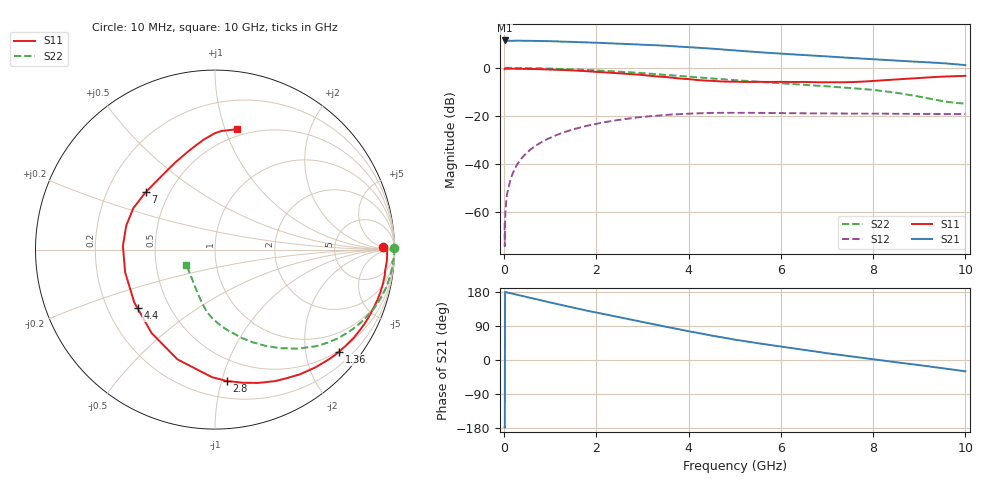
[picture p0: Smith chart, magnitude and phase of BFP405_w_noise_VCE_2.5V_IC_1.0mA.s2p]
! Infineon Technologies  Discrete & RF Semiconductors
! BFP405
! VCE =  2.5 V,  IC =  1.0 mA
! Common Emitter S-Parameters:  Jan 2016
# GHz  S  MA  R  50
!  f  S11  S21  S12  S22
! GHz  MAG  ANG  MAG  ANG  MAG  ANG  MAG  ANG
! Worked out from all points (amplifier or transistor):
!   233 points, 10 MHz to 10 GHz, reference 50 ohm
!   highest |S21| = 11.4 dB at 10 MHz (marker M1)
!   |S21| within 3 dB of that: start of sweep to 4.174 GHz
!   unconditionally stable (mu >= 1): 14.57 MHz to 15.12 MHz; 5.151 GHz to end of sweep
!   at 200 MHz: K = 0.01, MSG = 27.2 dB, |S12| = -43.2 dB
!   at 1.74 GHz: K = 0.21, MSG = 17.5 dB, |S12| = -24.3 dB
!   at 10 GHz: K = 2.01, MAG = 4.4 dB, |S12| = -19.2 dB
!   lowest NFmin = 0.74 dB at 900 MHz
!   S11 on the Smith chart (normalised r, x): 10 MHz: 30, +7; 1.36 GHz: 0.47, -2.71; 2.8 GHz: 0.33, -1.04; 4.4 GHz: 0.33, -0.30; 7 GHz: 0.37, +0.32; 10 GHz: 0.44, +1.10
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0.01  0.9387 0.9  3.695 -177.1  0.0006 -51.5  1 0.5
0.015  0.9492 0.2  3.66 -178.9  0.0002 32.4  0.9978 0.4
0.02  0.9598 -0.4  3.628 179.2  0.0007 90.9  0.9957 0.2
0.04  0.9588 -1.1  3.621 179.0  0.0016 84.6  0.9976 -0.3
0.06  0.9588 -1.7  3.622 178.5  0.0023 85.6  0.9986 -0.7
0.155  0.9581 -4.3  3.638 175.8  0.0054 87.4  0.9971 -2.5
0.3  0.9567 -8.5  3.65 171.7  0.0105 85.9  0.9962 -4.7
0.5  0.9521 -14.2  3.642 166.0  0.0176 82.6  0.9885 -7.9
0.8  0.9366 -22.9  3.605 157.5  0.0284 77.7  0.9761 -12.6
1.36  0.8951 -39.5  3.493 142.0  0.0481 67.8  0.9394 -21.2
1.68  0.8635 -49.1  3.412 133.4  0.0589 62.0  0.9124 -25.9
2.2  0.806 -65.3  3.257 120.0  0.0752 52.7  0.8637 -33.1
2.8  0.7355 -84.8  3.084 105.2  0.0914 42.1  0.8002 -41.2
3.4  0.654 -105.2  2.893 90.5  0.1039 31.4  0.7287 -48.9
4  0.5837 -127.3  2.694 75.9  0.1126 21.5  0.6577 -56.6
4.4  0.5413 -142.8  2.532 66.8  0.1154 15.4  0.6136 -61.3
5.1  0.5125 -169.1  2.263 51.9  0.117 6.1  0.5465 -69.1
6  0.5122 164.9  1.97 35.4  0.115 -2.6  0.4782 -77.6
6.8  0.502 145.5  1.769 21.6  0.1134 -8.1  0.4256 -85.4
7  0.5015 140.4  1.724 17.9  0.113 -9.4  0.4131 -87.4
8.4  0.5652 105.7  1.429 -4.4  0.1115 -17.0  0.313 -102.5
10  0.6817 79.7  1.141 -30.0  0.1098 -22.3  0.1809 -152.3
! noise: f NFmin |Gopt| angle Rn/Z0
0.9  0.74  0.71  15  0.57
1.8  1.18  0.58  32  0.51
2.4  1.45  0.48  44  0.46
3  1.56  0.48  58  0.43
4  1.81  0.35  86  0.3
5  2.13  0.33  122  0.21
